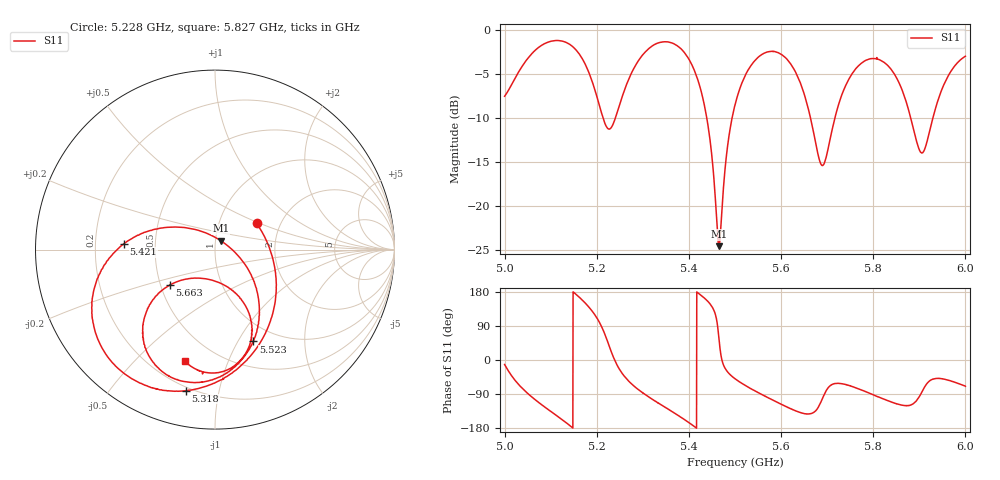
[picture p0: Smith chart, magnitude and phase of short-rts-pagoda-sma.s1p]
# HZ S RI R 50
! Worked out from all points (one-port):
!   2020 points, 5 GHz to 6 GHz, reference 50 ohm
!   lowest |S11| = -24.6 dB at 5.465 GHz (marker M1), VSWR 1.13, Z = 53 + j5.31 ohm
!   |S11| at or under -10 dB: 5.439 GHz to 5.494 GHz (54.96 MHz wide, 1.01 % of centre); 5.664 GHz to 5.717 GHz (52.98 MHz wide, 0.931 % of centre); 5.881 GHz to 5.93 GHz (48.3 MHz wide, 0.818 % of centre) (the widest 3 of 4)
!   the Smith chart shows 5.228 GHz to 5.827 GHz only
!   S11 on the Smith chart (normalised r, x): 5.228 GHz: 1.51, +0.48; 5.318 GHz: 0.18, -0.80; 5.421 GHz: 0.33, +0.03; 5.523 GHz: 0.79, -1.16; 5.663 GHz: 0.56, -0.25; 5.827 GHz: 0.33, -0.71
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5e9  0.4106 -0.0869
5.034175e9  0.2091 -0.5615
5.062902e9  -0.1519 -0.7351
5.09262e9  -0.5336 -0.6596
5.12531e9  -0.799 -0.3259
5.154532e9  -0.7672 0.0829
5.18425e9  -0.4143 0.3776
5.228331e9  0.2315 0.1462
5.250124e9  0.3403 -0.1682
5.286776e9  0.1695 -0.623
5.317979e9  -0.1614 -0.7861
5.375434e9  -0.6671 -0.4596
5.420505e9  -0.508 0.032
5.44428e9  -0.221 0.1258
5.465082e9  0.0315 0.0499
5.500248e9  0.244 -0.2877
5.522536e9  0.2129 -0.5116
5.572561e9  -0.1302 -0.74
5.625062e9  -0.4045 -0.4649
5.6632e9  -0.2531 -0.1982
5.691432e9  -0.0207 -0.1695
5.750372e9  0.2048 -0.5031
5.789996e9  0.0394 -0.6802
5.826647e9  -0.1672 -0.6227
5.875186e9  -0.1832 -0.3127
5.90738e9  0.0338 -0.1976
5.954433e9  0.3145 -0.384
6.000001e9  0.2502 -0.6626
